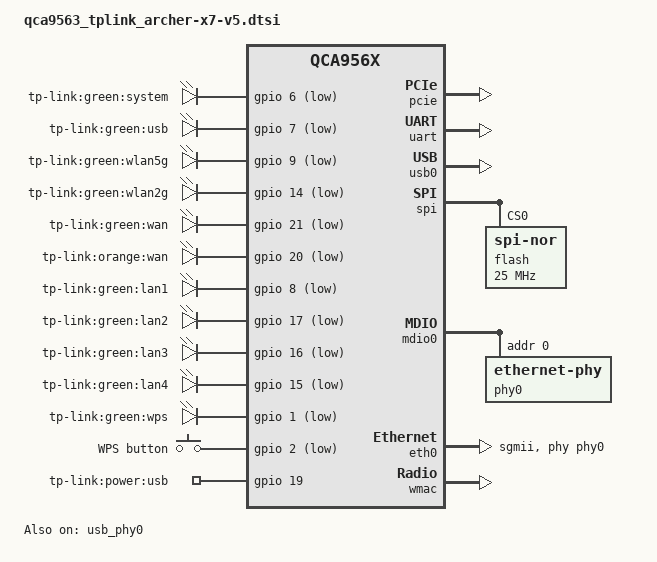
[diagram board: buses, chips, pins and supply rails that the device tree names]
// SPDX-License-Identifier: GPL-2.0-or-later OR MIT
/dts-v1/;

#include <dt-bindings/gpio/gpio.h>
#include <dt-bindings/input/input.h>

#include "qca956x.dtsi"

/ {
	chosen {
		bootargs = "console=ttyS0,115200n8";
	};

	aliases {
		led-boot = &system;
		led-failsafe = &system;
		led-running = &system;
		led-upgrade = &system;
	};

	gpio_leds: leds {
		compatible = "gpio-leds";

		system: system {
			label = "tp-link:green:system";
			gpios = <&gpio 6 GPIO_ACTIVE_LOW>;
			default-state = "on";
		};

		usb {
			label = "tp-link:green:usb";
			gpios = <&gpio 7 GPIO_ACTIVE_LOW>;
			trigger-sources = <&hub_port0>;
			linux,default-trigger = "usbport";
		};

		wlan5g {
			label = "tp-link:green:wlan5g";
			gpios = <&gpio 9 GPIO_ACTIVE_LOW>;
			linux,default-trigger = "phy0tpt";
		};

		led_wlan2g: wlan2g {
			label = "tp-link:green:wlan2g";
			gpios = <&gpio 14 GPIO_ACTIVE_LOW>;
			linux,default-trigger = "phy1tpt";
		};

		wan {
			label = "tp-link:green:wan";
			gpios = <&gpio 21 GPIO_ACTIVE_LOW>;
		};

		wan_fail {
			label = "tp-link:orange:wan";
			gpios = <&gpio 20 GPIO_ACTIVE_LOW>;
		};

		lan1 {
			label = "tp-link:green:lan1";
			gpios = <&gpio 8 GPIO_ACTIVE_LOW>;
		};

		lan2 {
			label = "tp-link:green:lan2";
			gpios = <&gpio 17 GPIO_ACTIVE_LOW>;
		};

		lan3 {
			label = "tp-link:green:lan3";
			gpios = <&gpio 16 GPIO_ACTIVE_LOW>;
		};

		lan4 {
			label = "tp-link:green:lan4";
			gpios = <&gpio 15 GPIO_ACTIVE_LOW>;
		};

		wps {
			label = "tp-link:green:wps";
			gpios = <&gpio 1 GPIO_ACTIVE_LOW>;
		};
	};

	gpio_keys: keys {
		compatible = "gpio-keys";

		wps {
			label = "WPS button";
			linux,code = <KEY_WPS_BUTTON>;
			gpios = <&gpio 2 GPIO_ACTIVE_LOW>;
			debounce-interval = <60>;
		};
	};

	gpio-export {
		compatible = "gpio-export";

		gpio_usb_power {
			gpio-export,name = "tp-link:power:usb";
			gpio-export,output = <1>;
			gpios = <&gpio 19 GPIO_ACTIVE_HIGH>;
		};
	};
};

&pcie {
	status = "okay";
};

&uart {
	status = "okay";
};

&gpio {
	status = "okay";
};

&usb_phy0 {
	status = "okay";
};

&usb0 {
	#address-cells = <1>;
	#size-cells = <0>;
	status = "okay";

	hub_port0: port@1 {
		reg = <1>;
		#trigger-source-cells = <0>;
	};
};

&spi {
	status = "okay";
	num-cs = <1>;

	flash@0 {
		compatible = "jedec,spi-nor";
		reg = <0>;
		spi-max-frequency = <25000000>;

		mtdparts: partitions {
			compatible = "fixed-partitions";
			#address-cells = <1>;
			#size-cells = <1>;
		};
	};
};

&mdio0 {
	status = "okay";

	phy-mask = <0>;

	phy0: ethernet-phy@0 {
		reg = <0>;
		phy-mode = "sgmii";

		qca,ar8327-initvals = <
			0x04 0x00080080 /* PORT0 PAD MODE CTRL */
			0x10 0x81000080 /* POWER_ON_STRIP */
			0x50 0xcc35cc35 /* LED_CTRL0 */
			0x54 0xcb37cb37 /* LED_CTRL1 */
			0x58 0x00000000 /* LED_CTRL2 */
			0x5c 0x00f3cf00 /* LED_CTRL3 */
			0x7c 0x0000007e /* PORT0_STATUS */
			>;
	};
};

&eth0 {
	status = "okay";

	pll-data = <0x03000101 0x00000101 0x00001919>;

	phy-mode = "sgmii";
	mtd-mac-address = <&info 0x8>;
	phy-handle = <&phy0>;
};

&wmac {
	status = "okay";
	mtd-cal-data = <&art 0x1000>;
	mtd-mac-address = <&info 0x8>;
};
